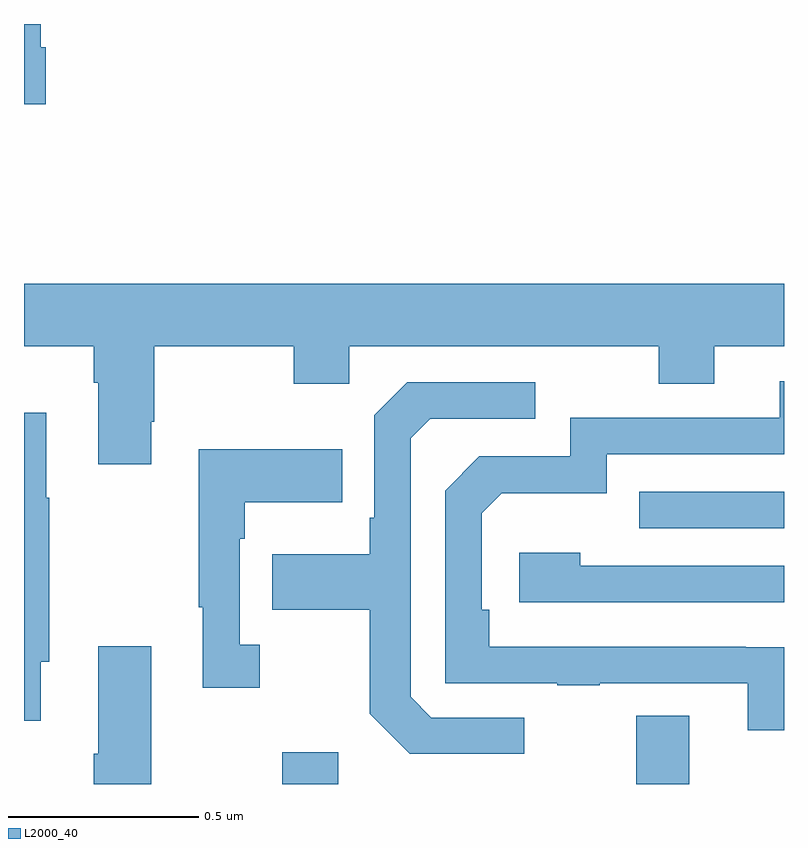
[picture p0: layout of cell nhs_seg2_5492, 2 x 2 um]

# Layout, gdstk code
import gdstk
lib = gdstk.Library(unit=1e-6, precision=1e-09)
def R(c, l, rs):  # rectangles x0, y0, x1, y1
    for r in rs: c.add(gdstk.rectangle(r[:2], r[2:], *l))
def P(c, l, *ps):  # polygons
    for p in ps: c.add(gdstk.Polygon(p, *l))
L2000_40 = (2000, 40)

nhs_seg2_5492 = lib.new_cell('nhs_seg2_5492')
R(nhs_seg2_5492, L2000_40, [(179.68,663.8,179.827,663.883), (180.611,663.8,180.751,663.979), (180.619,664.473,181,664.569)])
P(nhs_seg2_5492, L2000_40, [(179.057,665.739),(179.044,665.739),(179.044,665.8),(179,665.8),(179,665.589),(179.057,665.589)],
  [(179.335,664.753),(179.343,664.753),(179.343,664.952),(179.71,664.952),(179.71,664.853),(179.856,664.853),(179.856,664.952),(180.67,664.952),(180.67,664.853),(180.817,664.853),(180.817,664.952),(181,664.952),(181,665.116),(179,665.116),(179,664.952),(179.183,664.952),(179.183,664.856),(179.195,664.856),(179.195,664.641),(179.335,664.641)],
  [(181,664.16),(180.899,664.16),(180.899,664.161),(180.224,664.161),(180.224,664.258),(180.204,664.258),(180.204,664.512),(180.257,664.565),(180.534,664.565),(180.534,664.668),(181,664.668),(181,664.86),(180.989,664.86),(180.989,664.764),(180.438,664.764),(180.438,664.662),(180.198,664.662),(180.108,664.572),(180.108,664.065),(180.403,664.065),(180.403,664.06),(180.515,664.06),(180.515,664.065),(180.905,664.065),(180.905,663.942),(181,663.942)],
  [(180.316,663.975),(180.072,663.975),(180.018,664.029),(180.018,664.71),(180.069,664.761),(180.346,664.761),(180.346,664.857),(180.009,664.857),(179.922,664.77),(179.922,664.501),(179.91,664.501),(179.91,664.405),(179.653,664.405),(179.653,664.258),(179.91,664.258),(179.91,663.985),(180.015,663.879),(180.316,663.879)],
  [(179.044,664.122),(179.067,664.122),(179.067,664.553),(179.059,664.553),(179.059,664.777),(179,664.777),(179,663.966),(179.044,663.966)],
  [(179.62,664.166),(179.568,664.166),(179.568,664.445),(179.581,664.445),(179.581,664.541),(179.837,664.541),(179.837,664.681),(179.46,664.681),(179.46,664.265),(179.471,664.265),(179.471,664.053),(179.62,664.053)],
  [(181,664.374),(180.464,664.374),(180.464,664.408),(180.303,664.408),(180.303,664.278),(181,664.278)],
  [(179.335,664.162),(179.195,664.162),(179.195,663.88),(179.183,663.88),(179.183,663.8),(179.335,663.8)])

lib.write_gds('nhs_seg2_5492.gds')
